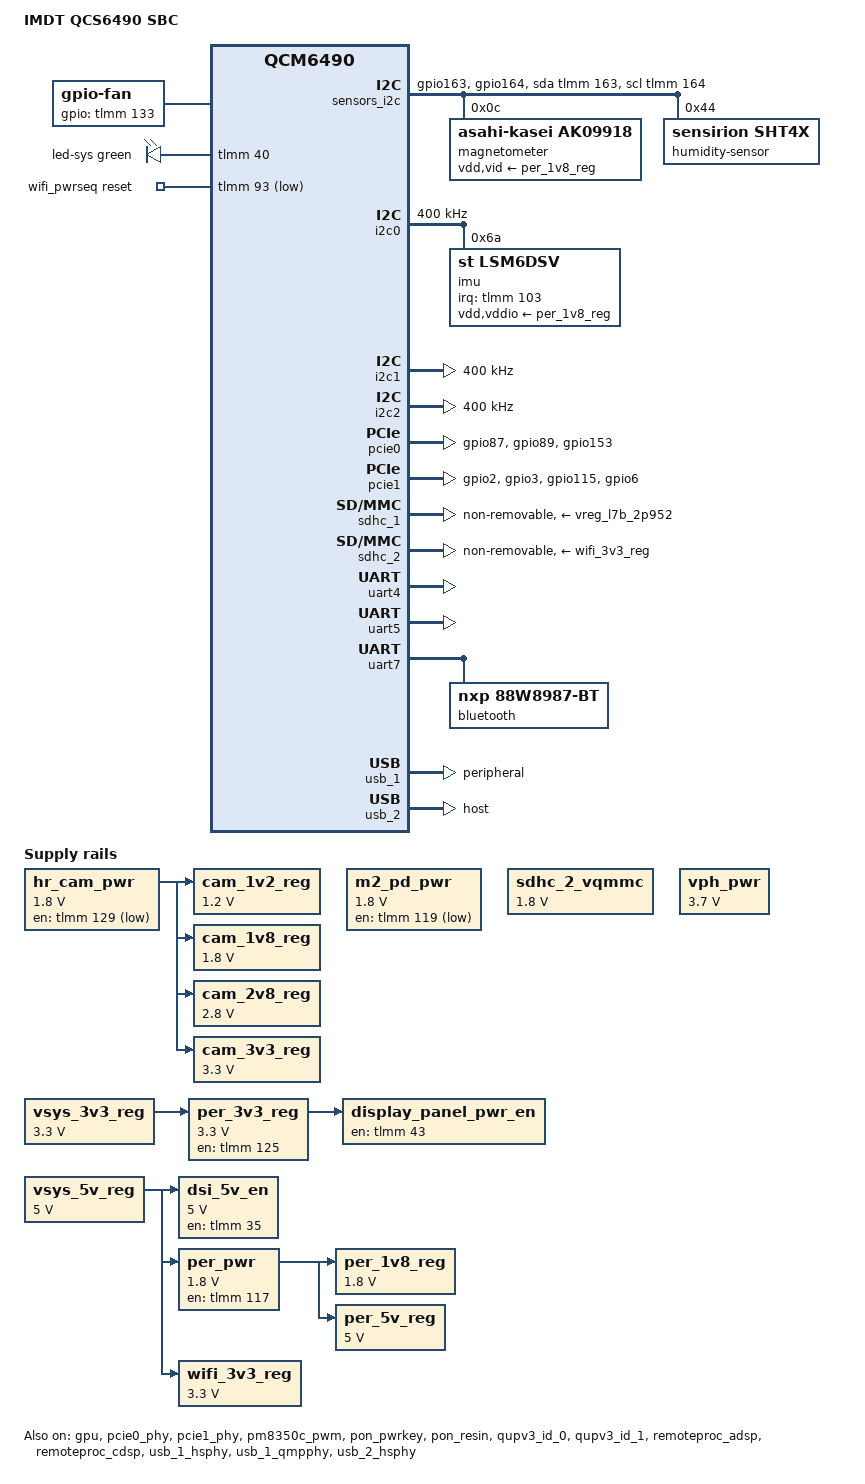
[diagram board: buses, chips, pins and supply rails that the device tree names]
// SPDX-License-Identifier: BSD-3-Clause
/*
 * Copyright (c) 2026 IMD Technologies Ltd
 */

/dts-v1/;

#include <dt-bindings/gpio/gpio.h>
#include <dt-bindings/leds/common.h>
#include "qcs6490-imdt-som.dtsi"

/*
 * kodiak.dtsi carve-outs don't match the memory map of the QCS6490
 * Linux-Android (LA) boot firmware, so - like every QCM6490 board -
 * drop them and describe the LA map in reserved-memory below. The
 * WLAN/WPSS and modem nodes are deleted rather than redefined: WLAN
 * is served by the SDIO-attached Murata module instead of the
 * WPSS-hosted WCN6750, and cellular comes from the M.2 Key-B slot,
 * so their firmware regions can be returned to the system.
 */
/delete-node/ &adsp_mem;
/delete-node/ &cdsp_mem;
/delete-node/ &ipa_fw_mem;
/delete-node/ &mpss_mem;
/delete-node/ &remoteproc_mpss;
/delete-node/ &remoteproc_wpss;
/delete-node/ &rmtfs_mem;
/delete-node/ &video_mem;
/delete-node/ &wifi;
/delete-node/ &wlan_ce_mem;
/delete-node/ &wlan_fw_mem;
/delete-node/ &wpss_mem;
/delete-node/ &xbl_mem;

/*
 * The mdmss thermal zones throttle via &remoteproc_mpss, deleted above, which
 * leaves their cooling-maps referencing a non-existent label and aborts dtc.
 * Drop the maps only: the sensors and their trip points, including the critical
 * shutdown trip, stay live.
 */
&mdmss0_thermal {
	/delete-node/ cooling-maps;
};

&mdmss1_thermal {
	/delete-node/ cooling-maps;
};

&mdmss2_thermal {
	/delete-node/ cooling-maps;
};

&mdmss3_thermal {
	/delete-node/ cooling-maps;
};

/ {
	model = "IMDT QCS6490 SBC";
	compatible = "imdt,qcs6490-sbc", "imdt,qcs6490-som", "qcom,qcm6490";
	chassis-type = "embedded";

	aliases {
		serial0 = &uart5;
		serial1 = &uart7;
		serial2 = &uart4;
	};

	chosen {
		stdout-path = "serial0:115200n8";
	};

	/*
	 * 2-pin fan header J44, switched on/off by FAN_CONTROL (GPIO_133)
	 * through a MOSFET. The nominal RPM is indicative only; there is
	 * no tachometer feedback.
	 */
	fan: fan {
		compatible = "gpio-fan";
		gpios = <&tlmm 133 GPIO_ACTIVE_HIGH>;
		gpio-fan,speed-map = <0 0>,
				     <5000 1>;
		#cooling-cells = <2>;

		pinctrl-names = "default";
		pinctrl-0 = <&fan_default>;
	};

	/*
	 * AK09918 and SHT40 sit on a dedicated I2C wired to GPIO_163/164.
	 * These pads have no QUP function (eGPIO only), so the bus is
	 * bit-banged.
	 */
	sensors_i2c: i2c {
		compatible = "i2c-gpio";
		sda-gpios = <&tlmm 163 (GPIO_ACTIVE_HIGH | GPIO_OPEN_DRAIN)>;
		scl-gpios = <&tlmm 164 (GPIO_ACTIVE_HIGH | GPIO_OPEN_DRAIN)>;
		i2c-gpio,delay-us = <2>;
		#address-cells = <1>;
		#size-cells = <0>;

		pinctrl-names = "default";
		pinctrl-0 = <&sensors_i2c_default>;

		magnetometer@c {
			/* Register-compatible with the AK09912 */
			compatible = "asahi-kasei,ak09918", "asahi-kasei,ak09912";
			reg = <0x0c>;
			vdd-supply = <&per_1v8_reg>;
			vid-supply = <&per_1v8_reg>;
		};

		humidity-sensor@44 {
			compatible = "sensirion,sht4x";
			reg = <0x44>;
		};
	};

	leds {
		compatible = "gpio-leds";

		pinctrl-names = "default";
		pinctrl-0 = <&sys_led_default>;

		led-sys {
			color = <LED_COLOR_ID_GREEN>;
			function = LED_FUNCTION_STATUS;
			gpios = <&tlmm 40 GPIO_ACTIVE_HIGH>;
		};
	};

	cam_1v2_reg: regulator-cam-1v2 {
		compatible = "regulator-fixed";
		regulator-name = "cam_1v2_reg";
		regulator-min-microvolt = <1200000>;
		regulator-max-microvolt = <1200000>;
		vin-supply = <&hr_cam_pwr>;
	};

	cam_1v8_reg: regulator-cam-1v8 {
		compatible = "regulator-fixed";
		regulator-name = "cam_1v8_reg";
		regulator-min-microvolt = <1800000>;
		regulator-max-microvolt = <1800000>;
		vin-supply = <&hr_cam_pwr>;
	};

	cam_2v8_reg: regulator-cam-2v8 {
		compatible = "regulator-fixed";
		regulator-name = "cam_2v8_reg";
		regulator-min-microvolt = <2800000>;
		regulator-max-microvolt = <2800000>;
		vin-supply = <&hr_cam_pwr>;
	};

	cam_3v3_reg: regulator-cam-3v3 {
		compatible = "regulator-fixed";
		regulator-name = "cam_3v3_reg";
		regulator-min-microvolt = <3300000>;
		regulator-max-microvolt = <3300000>;
		vin-supply = <&hr_cam_pwr>;
	};

	/*
	 * 10_1PWR_EN on the DSI display connector (J41 pin 58): active-high
	 * enable for the panel power rails generated on the display adapter
	 * board, which runs from 3V3_PER (J41 pin 36).
	 */
	display_panel_pwr_en: regulator-display-panel-en {
		compatible = "regulator-fixed";
		regulator-name = "display_panel_pwr_en";
		startup-delay-us = <10000>;

		pinctrl-names = "default";
		pinctrl-0 = <&panel_en_default>;

		gpio = <&tlmm 43 GPIO_ACTIVE_HIGH>;
		enable-active-high;

		vin-supply = <&per_3v3_reg>;
	};

	/*
	 * DSI_ENABLE (GPIO_35): enables the AP22653 load switch that gates
	 * VSYS_5V onto the DSI_5V pins of the display connector.
	 */
	dsi_5v_en: regulator-dsi-5v-en {
		compatible = "regulator-fixed";
		regulator-name = "dsi_5v_en";
		regulator-min-microvolt = <5000000>;
		regulator-max-microvolt = <5000000>;
		startup-delay-us = <50000>;

		pinctrl-names = "default";
		pinctrl-0 = <&dsi_5v_en_default>;

		gpio = <&tlmm 35 GPIO_ACTIVE_HIGH>;
		enable-active-high;

		vin-supply = <&vsys_5v_reg>;
	};

	/* Enables 1V2, 1V8_CAM and 3V3_CAM */
	hr_cam_pwr: regulator-hr-cam-pwr {
		compatible = "regulator-fixed";
		regulator-name = "hr_cam_pwr";
		regulator-min-microvolt = <1800000>;
		regulator-max-microvolt = <1800000>;

		pinctrl-names = "default";
		pinctrl-0 = <&hr_cam_en_default>;

		gpio = <&tlmm 129 GPIO_ACTIVE_LOW>;

		regulator-always-on;
		regulator-boot-on;
	};

	/* Enables V2MB_3V8 and V2ME_3V3 for the M.2 Key-B and Key-E slots */
	m2_pd_pwr: regulator-m2-pd-pwr {
		compatible = "regulator-fixed";
		regulator-name = "m2_pd_pwr";
		regulator-min-microvolt = <1800000>;
		regulator-max-microvolt = <1800000>;

		pinctrl-names = "default";
		pinctrl-0 = <&m2_pd_en_default>;

		gpio = <&tlmm 119 GPIO_ACTIVE_LOW>;

		regulator-always-on;
		regulator-boot-on;

		gpio-open-drain;
	};

	per_1v8_reg: regulator-per-1v8 {
		compatible = "regulator-fixed";
		regulator-name = "per_1v8_reg";
		regulator-min-microvolt = <1800000>;
		regulator-max-microvolt = <1800000>;
		vin-supply = <&per_pwr>;
	};

	/*
	 * Unlike 5V_PER/1V8_PER, the 3V3_PER rail has its own enable
	 * (3V3_PER_EN, GPIO_125).
	 */
	per_3v3_reg: regulator-per-3v3 {
		compatible = "regulator-fixed";
		regulator-name = "per_3v3_reg";
		regulator-min-microvolt = <3300000>;
		regulator-max-microvolt = <3300000>;

		pinctrl-names = "default";
		pinctrl-0 = <&per_3v3_en_default>;

		gpio = <&tlmm 125 GPIO_ACTIVE_HIGH>;
		enable-active-high;

		vin-supply = <&vsys_3v3_reg>;

		regulator-always-on;
		regulator-boot-on;
	};

	per_5v_reg: regulator-per-5v {
		compatible = "regulator-fixed";
		regulator-name = "per_5v_reg";
		regulator-min-microvolt = <5000000>;
		regulator-max-microvolt = <5000000>;
		vin-supply = <&per_pwr>;
	};

	/* PWR_PER_EN (GPIO_117): enables 5V_PER and 1V8_PER */
	per_pwr: regulator-per-pwr {
		compatible = "regulator-fixed";
		regulator-name = "per_pwr";
		regulator-min-microvolt = <1800000>;
		regulator-max-microvolt = <1800000>;

		pinctrl-names = "default";
		pinctrl-0 = <&pwr_per_en_default>;

		gpio = <&tlmm 117 GPIO_ACTIVE_HIGH>;
		enable-active-high;

		vin-supply = <&vsys_5v_reg>;

		regulator-always-on;
		regulator-boot-on;
	};

	/* Always-on 1.8 V rail feeding the WiFi SDIO I/O domain */
	sdhc_2_vqmmc: regulator-sdhc-2-vqmmc {
		compatible = "regulator-fixed";
		regulator-name = "sdhc_2_vqmmc";
		regulator-min-microvolt = <1800000>;
		regulator-max-microvolt = <1800000>;
		regulator-always-on;
		regulator-boot-on;
	};

	vph_pwr: regulator-vph-pwr {
		compatible = "regulator-fixed";
		regulator-name = "vph_pwr";
		regulator-min-microvolt = <3700000>;
		regulator-max-microvolt = <3700000>;
		regulator-always-on;
		regulator-boot-on;
	};

	vsys_3v3_reg: regulator-vsys-3v3 {
		compatible = "regulator-fixed";
		regulator-name = "vsys_3v3_reg";
		regulator-min-microvolt = <3300000>;
		regulator-max-microvolt = <3300000>;
		regulator-always-on;
		regulator-boot-on;
	};

	vsys_5v_reg: regulator-vsys-5v {
		compatible = "regulator-fixed";
		regulator-name = "vsys_5v_reg";
		regulator-min-microvolt = <5000000>;
		regulator-max-microvolt = <5000000>;
		regulator-always-on;
		regulator-boot-on;
	};

	/* AP61300 buck generating WIFI_3V3 for the Murata module */
	wifi_3v3_reg: regulator-wifi-3v3 {
		compatible = "regulator-fixed";
		regulator-name = "wifi_3v3_reg";
		regulator-min-microvolt = <3300000>;
		regulator-max-microvolt = <3300000>;

		vin-supply = <&vsys_5v_reg>;

		regulator-always-on;
		regulator-boot-on;
	};

	reserved-memory {
		xbl_mem: xbl@80700000 {
			reg = <0x0 0x80700000 0x0 0x100000>;
			no-map;
		};

		cdsp_secure_heap_mem: cdsp-secure-heap@81800000 {
			reg = <0x0 0x81800000 0x0 0x1e00000>;
			no-map;
		};

		camera_mem: camera@84300000 {
			reg = <0x0 0x84300000 0x0 0x500000>;
			no-map;
		};

		adsp_mem: adsp@86100000 {
			reg = <0x0 0x86100000 0x0 0x2800000>;
			no-map;
		};

		cdsp_mem: cdsp@88900000 {
			reg = <0x0 0x88900000 0x0 0x1e00000>;
			no-map;
		};

		video_mem: video@8a700000 {
			reg = <0x0 0x8a700000 0x0 0x700000>;
			no-map;
		};

		cvp_mem: cvp@8ae00000 {
			reg = <0x0 0x8ae00000 0x0 0x500000>;
			no-map;
		};

		gpu_microcode_mem: gpu-microcode@8b31a000 {
			reg = <0x0 0x8b31a000 0x0 0x2000>;
			no-map;
		};

		tz_stat_mem: tz-stat@c0000000 {
			reg = <0x0 0xc0000000 0x0 0x100000>;
			no-map;
		};

		tags_mem: tags@c0100000 {
			reg = <0x0 0xc0100000 0x0 0x1200000>;
			no-map;
		};

		qtee_mem: qtee@c1300000 {
			reg = <0x0 0xc1300000 0x0 0x500000>;
			no-map;
		};

		trusted_apps_mem: trusted-apps@c1800000 {
			reg = <0x0 0xc1800000 0x0 0x1c00000>;
			no-map;
		};

		debug_vm_mem: debug-vm@d0600000 {
			reg = <0x0 0xd0600000 0x0 0x100000>;
			no-map;
		};
	};

	wifi_pwrseq: wifi-pwrseq {
		compatible = "mmc-pwrseq-simple";
		/*
		 * WL_BT_PMIC_EN (GPIO_93): master enable for the Murata
		 * LBES0ZZ2LL (NXP IW612) module. Held asserted (low) before
		 * SDHC2 powers up, then released once vmmc/vqmmc are stable.
		 */
		reset-gpios = <&tlmm 93 GPIO_ACTIVE_LOW>;
		post-power-on-delay-ms = <50>;
	};
};

&apps_rsc {
	regulators-0 {
		vdd-s1-supply = <&vph_pwr>;
		vdd-s2-supply = <&vph_pwr>;
		vdd-s3-supply = <&vph_pwr>;
		vdd-s4-supply = <&vph_pwr>;
		vdd-s5-supply = <&vph_pwr>;
		vdd-s6-supply = <&vph_pwr>;
		vdd-s7-supply = <&vph_pwr>;
		vdd-s8-supply = <&vph_pwr>;
	};

	regulators-1 {
		vdd-s1-supply = <&vph_pwr>;
		vdd-s2-supply = <&vph_pwr>;
		vdd-s3-supply = <&vph_pwr>;
		vdd-s4-supply = <&vph_pwr>;
		vdd-s5-supply = <&vph_pwr>;
		vdd-s6-supply = <&vph_pwr>;
		vdd-s7-supply = <&vph_pwr>;
		vdd-s8-supply = <&vph_pwr>;
		vdd-s9-supply = <&vph_pwr>;
		vdd-s10-supply = <&vph_pwr>;
		vdd-bob-supply = <&vph_pwr>;
	};
};

&gcc {
	/* Clocks owned by TZ / a peer VM; the HLOS must not touch them. */
	protected-clocks = <GCC_CFG_NOC_LPASS_CLK>,
			   <GCC_MSS_CFG_AHB_CLK>,
			   <GCC_MSS_GPLL0_MAIN_DIV_CLK_SRC>,
			   <GCC_MSS_OFFLINE_AXI_CLK>,
			   <GCC_MSS_Q6SS_BOOT_CLK_SRC>,
			   <GCC_MSS_Q6_MEMNOC_AXI_CLK>,
			   <GCC_MSS_SNOC_AXI_CLK>,
			   <GCC_QSPI_CNOC_PERIPH_AHB_CLK>,
			   <GCC_QSPI_CORE_CLK>,
			   <GCC_QSPI_CORE_CLK_SRC>,
			   <GCC_SEC_CTRL_CLK_SRC>,
			   <GCC_WPSS_AHB_BDG_MST_CLK>,
			   <GCC_WPSS_AHB_CLK>,
			   <GCC_WPSS_RSCP_CLK>;
};

&gpi_dma0 {
	status = "okay";
};

&gpi_dma1 {
	status = "okay";
};

&gpu {
	status = "okay";
};

&gpu_zap_shader {
	firmware-name = "qcom/qcs6490/a660_zap.mbn";
};

&i2c0 {
	clock-frequency = <400000>;
	status = "okay";

	imu@6a {
		compatible = "st,lsm6dsv";
		reg = <0x6a>;

		interrupts-extended = <&tlmm 103 IRQ_TYPE_LEVEL_HIGH>;

		pinctrl-names = "default";
		pinctrl-0 = <&lsm6dsv_int_default>;

		vdd-supply = <&per_1v8_reg>;
		vddio-supply = <&per_1v8_reg>;
	};
};

/*
 * APPS_I2C: also hosts the CYPD6125 USB-C port controller at 0x08
 * (not described; usb_1 is hard-wired to peripheral mode), a
 * TLV320AIC3101 audio codec at 0x18 (audio bring-up pending), an
 * ECC204 authentication IC and an SLG47528 GreenPAK (no bindings).
 */
&i2c1 {
	clock-frequency = <400000>;
	status = "okay";
};

/* Expansion-header I2C (J1/J52, "CHARGER_I2C") */
&i2c2 {
	clock-frequency = <400000>;
	status = "okay";
};

&pcie0 {
	perst-gpios = <&tlmm 87 GPIO_ACTIVE_LOW>;
	wake-gpios = <&tlmm 89 GPIO_ACTIVE_HIGH>;

	/*
	 * pcie0 hosts the M.2 Key-E slot. Apply the SDIO reset de-assert
	 * here so any module's chip enable is settled before pcie0 trains
	 * its link.
	 */
	pinctrl-0 = <&pcie0_clkreq_n>,
		    <&pcie0_reset_n>,
		    <&pcie0_wake_n>,
		    <&m2e_sdio_resetn_default>;
	pinctrl-names = "default";

	status = "okay";
};

&pcie0_phy {
	vdda-phy-supply = <&vreg_l10c_0p88>;
	vdda-pll-supply = <&vreg_l6b_1p2>;

	status = "okay";
};

&pcie1 {
	perst-gpios = <&tlmm 2 GPIO_ACTIVE_LOW>;
	wake-gpios = <&tlmm 3 GPIO_ACTIVE_HIGH>;

	/*
	 * pcie_switch_sel_default and gbe_reset_default are board-init
	 * lines that must be stable before pcie1 trains its link: the
	 * CBTU02044 PCIe mux needs its select line settled, and the
	 * downstream LAN743x must be out of reset to enumerate.
	 * Applying them via pcie1's pinctrl-0 fires them during
	 * qcom-pcie probe, before bus enumeration.
	 */
	pinctrl-0 = <&pcie1_clkreq_n>,
		    <&pcie1_reset_n>,
		    <&pcie1_wake_n>,
		    <&pcie_switch_sel_default>,
		    <&gbe_reset_default>;
	pinctrl-names = "default";

	status = "okay";
};

&pcie1_phy {
	vdda-phy-supply = <&vreg_l10c_0p88>;
	vdda-pll-supply = <&vreg_l6b_1p2>;

	status = "okay";
};

&pm8350c_pwm {
	status = "okay";

	/*
	 * RGB LED on the PM7350C LPG outputs. The channel-to-colour
	 * mapping follows the reference design; verify at bring-up.
	 */
	multi-led {
		color = <LED_COLOR_ID_RGB>;
		function = LED_FUNCTION_INDICATOR;

		#address-cells = <1>;
		#size-cells = <0>;

		led@1 {
			reg = <1>;
			color = <LED_COLOR_ID_RED>;
		};

		led@2 {
			reg = <2>;
			color = <LED_COLOR_ID_GREEN>;
		};

		led@3 {
			reg = <3>;
			color = <LED_COLOR_ID_BLUE>;
		};
	};
};

&pon_pwrkey {
	status = "okay";
};

&pon_resin {
	linux,code = <KEY_VOLUMEDOWN>;

	status = "okay";
};

&qupv3_id_0 {
	firmware-name = "qcom/qcs6490/qupv3fw.elf";
	status = "okay";
};

&qupv3_id_1 {
	firmware-name = "qcom/qcs6490/qupv3fw.elf";
	status = "okay";
};

&remoteproc_adsp {
	firmware-name = "qcom/qcs6490/adsp.mbn";
	status = "okay";
};

&remoteproc_cdsp {
	firmware-name = "qcom/qcs6490/cdsp.mbn";
	status = "okay";
};

/* On-SoM 32 GB eMMC */
&sdhc_1 {
	/*
	 * This board boots from eMMC, not UFS. UEFI's CryptoDxe only fixes up
	 * (unlocks) the UFS inline-crypto engine -- the boot log shows
	 * "CryptoDxeFixupEventNotifyFunc: ufs node not found in device tree" --
	 * so the SDCC1 ICE at 0x7c8000 is left owned by TrustZone. When the HLOS
	 * sdhci-msm driver then touches the ICE the SoC takes an immediate
	 * warm reset during probe. We have no need for inline storage encryption
	 * here, so detach the ICE from the controller.
	 */
	/delete-property/ qcom,ice;

	vmmc-supply = <&vreg_l7b_2p952>;
	vqmmc-supply = <&vreg_l19b_1p8>;

	non-removable;
	no-sd;
	no-sdio;

	status = "okay";
};

/*
 * SDC2 is routed to the Murata LBES0ZZ2LL (NXP IW612) WLAN interface;
 * there is no microSD slot on this board.
 */
&sdhc_2 {
	vmmc-supply = <&wifi_3v3_reg>;
	vqmmc-supply = <&sdhc_2_vqmmc>;

	mmc-pwrseq = <&wifi_pwrseq>;

	keep-power-in-suspend;
	non-removable;
	no-mmc;
	no-sd;

	status = "okay";
};

&tlmm {
	/* Reserved I/Os: 32-33 ADSP, 48-51 NFC (trustzone-protected) */
	gpio-reserved-ranges = <32 2>, <48 4>;

	dsi_5v_en_default: dsi-5v-en-default-state {
		pins = "gpio35";
		function = "gpio";
		drive-strength = <8>;
		bias-disable;
	};

	fan_default: fan-default-state {
		pins = "gpio133";
		function = "gpio";
		drive-strength = <2>;
		bias-disable;
	};

	/*
	 * Drive LAN743x reset high (de-asserted) when pcie1 probes, so
	 * the GbE controller enumerates on the bus. Open-drain matches
	 * the board's external pull-up on the reset line.
	 */
	gbe_reset_default: gbe-reset-default-state {
		pins = "gpio6";
		function = "gpio";
		drive-strength = <2>;
		drive-open-drain;
		bias-disable;
		output-high;
	};

	hr_cam_en_default: hr-cam-en-default-state {
		pins = "gpio129";
		function = "gpio";
		drive-strength = <16>;
	};

	lsm6dsv_int_default: lsm6dsv-int-default-state {
		pins = "gpio103";
		function = "gpio";
		bias-disable;
	};

	m2_pd_en_default: m2-pd-en-default-state {
		pins = "gpio119";
		function = "gpio";
		drive-strength = <16>;
		drive-open-drain;
	};

	/*
	 * We drive this GPIO physically high on the M.2 Key-E connector
	 * to make sure the module is enabled. An M.2 Key-E module could
	 * be using this pin as a chip enable.
	 */
	m2e_sdio_resetn_default: m2e-sdio-resetn-default-state {
		pins = "gpio153";
		function = "gpio";
		drive-strength = <2>;
		bias-disable;
		output-high;
	};

	panel_en_default: panel-en-default-state {
		pins = "gpio43";
		function = "gpio";
		drive-strength = <8>;
		bias-disable;
	};

	pcie0_reset_n: pcie0-reset-n-state {
		pins = "gpio87";
		function = "gpio";
		drive-strength = <2>;
		bias-disable;
	};

	pcie0_wake_n: pcie0-wake-n-state {
		pins = "gpio89";
		function = "gpio";
		drive-strength = <2>;
		bias-pull-up;
	};

	pcie1_reset_n: pcie1-reset-n-state {
		pins = "gpio2";
		function = "gpio";
		drive-strength = <2>;
		bias-disable;
	};

	pcie1_wake_n: pcie1-wake-n-state {
		pins = "gpio3";
		function = "gpio";
		drive-strength = <2>;
		bias-pull-up;
	};

	/* Force the on-board PCIe mux to select the GbE upstream port. */
	pcie_switch_sel_default: pcie-switch-sel-default-state {
		pins = "gpio115";
		function = "gpio";
		drive-strength = <2>;
		bias-disable;
		output-high;
	};

	/*
	 * Alternative PCIe mux setting, routing pcie1 to the M.2 Key-B
	 * slot instead of the GbE PHY. Referenced only by the
	 * qcs6490-imdt-sbc-pcie-keyb overlay.
	 */
	pcie_switch_sel_keyb: pcie-switch-sel-keyb-state {
		pins = "gpio115";
		function = "gpio";
		drive-strength = <2>;
		bias-disable;
		output-low;
	};

	per_3v3_en_default: per-3v3-en-default-state {
		pins = "gpio125";
		function = "gpio";
		drive-strength = <16>;
	};

	pwr_per_en_default: pwr-per-en-default-state {
		pins = "gpio117";
		function = "gpio";
		drive-strength = <16>;
	};

	/*
	 * Bit-banged sensor I2C. Internal pull-ups are enabled in case
	 * the board-level pull-ups are not fitted.
	 */
	sensors_i2c_default: sensors-i2c-default-state {
		pins = "gpio163", "gpio164";
		function = "gpio";
		drive-strength = <2>;
		bias-pull-up;
	};

	sys_led_default: sys-led-default-state {
		pins = "gpio40";
		function = "gpio";
		drive-strength = <2>;
		bias-disable;
	};
};

/*
 * RS232 port (J9) through an ICL3221E transceiver. The transceiver's
 * enable (RS232_DIS, GPIO_136) and invalid-detect (RS232_INV, GPIO_135)
 * lines are left at their board defaults.
 */
&uart4 {
	status = "okay";
};

&uart5 {
	status = "okay";
};

&uart7 {
	status = "okay";

	/*
	 * Murata LBES0ZZ2LL (NXP IW612 tri-radio), BT side over UART.
	 * The btnxpuart driver detects the chip at runtime; the upstream
	 * binding only enumerates 88w8987/8997 compatibles, so use the
	 * closest match until an iw612-bt compatible is added.
	 */
	bluetooth {
		compatible = "nxp,88w8987-bt";
		fw-init-baudrate = <115200>;
		max-speed = <3000000>;
		firmware-name = "uartspi_n61x_v1.bin.se";
	};
};

/*
 * USB0 (HS + SS) is routed to the USB-C connector J53. The port is
 * managed by a CYPD6125 PD controller that is not visible to Linux;
 * the controller is hard-wired to peripheral/device operation.
 */
&usb_1 {
	/delete-property/ usb-role-switch;
	dr_mode = "peripheral";

	status = "okay";
};

&usb_1_hsphy {
	vdda-pll-supply = <&vreg_l10c_0p88>;
	vdda33-supply = <&vreg_l2b_3p072>;
	vdda18-supply = <&vreg_l1c_1p8>;

	status = "okay";
};

&usb_1_qmpphy {
	vdda-phy-supply = <&vreg_l6b_1p2>;
	vdda-pll-supply = <&vreg_l1b_0p912>;

	status = "okay";
};

/* USB1 (HS) feeds the M.2 Key-E slot */
&usb_2 {
	dr_mode = "host";

	status = "okay";
};

&usb_2_hsphy {
	vdda-pll-supply = <&vreg_l10c_0p88>;
	vdda33-supply = <&vreg_l2b_3p072>;
	vdda18-supply = <&vreg_l1c_1p8>;

	status = "okay";
};
